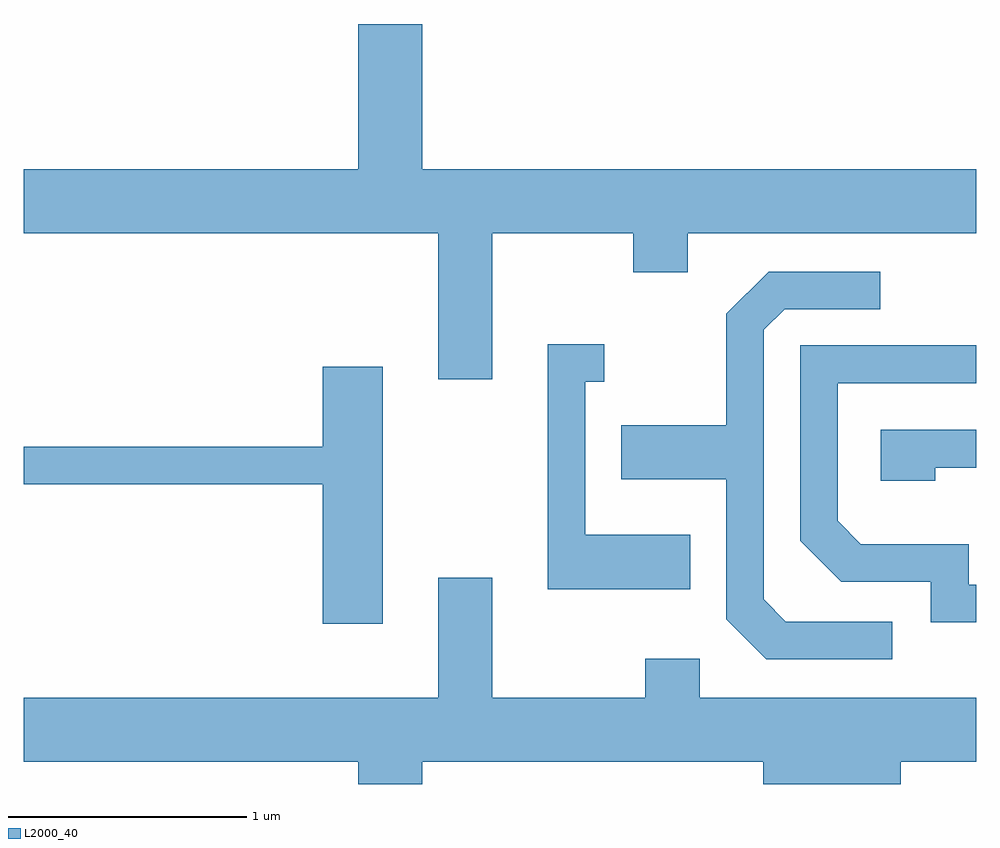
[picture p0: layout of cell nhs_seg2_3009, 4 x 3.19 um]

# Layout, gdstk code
import gdstk
lib = gdstk.Library(unit=1e-6, precision=1e-09)
def P(c, l, *ps):  # polygons
    for p in ps: c.add(gdstk.Polygon(p, *l))
L2000_40 = (2000, 40)

nhs_seg2_3009 = lib.new_cell('nhs_seg2_3009')
P(nhs_seg2_3009, L2000_40, [(275.579,1026.116),(276.171,1026.116),(276.171,1025.951),(276.399,1025.951),(276.399,1026.116),(277.611,1026.116),(277.611,1026.384),(275.284,1026.384),(275.284,1026.994),(275.016,1026.994),(275.016,1026.384),(273.611,1026.384),(273.611,1026.116),(275.351,1026.116),(275.351,1025.501),(275.579,1025.501)],
  [(277.258,1024.484),(276.812,1024.484),(276.719,1024.577),(276.719,1025.709),(276.807,1025.796),(277.208,1025.796),(277.208,1025.954),(276.739,1025.954),(276.561,1025.777),(276.561,1025.309),(276.121,1025.309),(276.121,1025.081),(276.561,1025.081),(276.561,1024.494),(276.729,1024.326),(277.258,1024.326)],
  [(276.409,1024.849),(275.969,1024.849),(275.969,1025.491),(276.048,1025.491),(276.048,1025.649),(275.811,1025.649),(275.811,1024.621),(276.409,1024.621)],
  [(277.611,1024.639),(277.579,1024.639),(277.579,1024.809),(277.127,1024.809),(277.029,1024.907),(277.029,1025.486),(277.611,1025.486),(277.611,1025.644),(276.871,1025.644),(276.871,1024.824),(277.044,1024.651),(277.421,1024.651),(277.421,1024.481),(277.611,1024.481)],
  [(275.119,1025.554),(274.866,1025.554),(274.866,1025.219),(273.611,1025.219),(273.611,1025.061),(274.866,1025.061),(274.866,1024.476),(275.119,1024.476)],
  [(277.439,1025.131),(277.611,1025.131),(277.611,1025.289),(277.211,1025.289),(277.211,1025.076),(277.439,1025.076)],
  [(275.284,1023.896),(276.716,1023.896),(276.716,1023.802),(277.294,1023.802),(277.294,1023.896),(277.611,1023.896),(277.611,1024.164),(276.449,1024.164),(276.449,1024.329),(276.221,1024.329),(276.221,1024.164),(275.579,1024.164),(275.579,1024.669),(275.351,1024.669),(275.351,1024.164),(273.611,1024.164),(273.611,1023.896),(275.016,1023.896),(275.016,1023.802),(275.284,1023.802)])

lib.write_gds('nhs_seg2_3009.gds')
